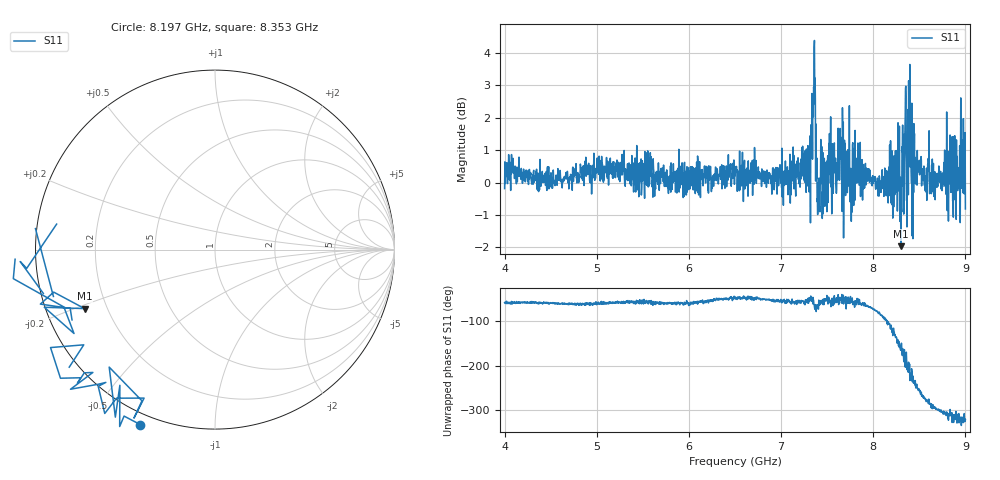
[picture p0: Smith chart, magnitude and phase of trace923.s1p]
! Created with skrf 1.8.0 (http://scikit-rf.org).
# Hz S RI R 50.0
!freq ReS11 ImS11
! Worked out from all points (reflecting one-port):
!   1601 points, 4 GHz to 9 GHz, reference 50 ohm
!   lowest |S11| = -2.0 dB at 8.3 GHz (marker M1), VSWR 8.86, Z = 5.9 - j10.6 ohm
!   phase of S11 starts at -57 deg and turns -266 deg over the sweep
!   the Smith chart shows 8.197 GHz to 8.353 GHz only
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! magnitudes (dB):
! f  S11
! 4 GHz  -0.2
! 4.066 GHz  -0.2
! 4.625 GHz  -0.2
! 5.25 GHz  0.0
! 5.875 GHz  0.3
! 6.5 GHz  0.3
! 7.125 GHz  0.7
! 7.294 GHz  0.4
! 7.325 GHz  1.8
! 7.347 GHz  2.6
! 7.369 GHz  3.2
! 7.4 GHz  0.0
! 7.609 GHz  0.3
! 7.65 GHz  0.9
! 7.75 GHz  -0.6
! 8.097 GHz  0.4
! 8.238 GHz  -0.1
! 8.259 GHz  0.6
! 8.3 GHz  -2.0
! 8.316 GHz  0.9
! 8.334 GHz  1.5
! 8.375 GHz  0.4
! 8.447 GHz  1.5
! 8.466 GHz  0.4
! 8.562 GHz  -0.2
! 8.803 GHz  -0.9
! 8.972 GHz  0.5
! 9 GHz  -0.8
